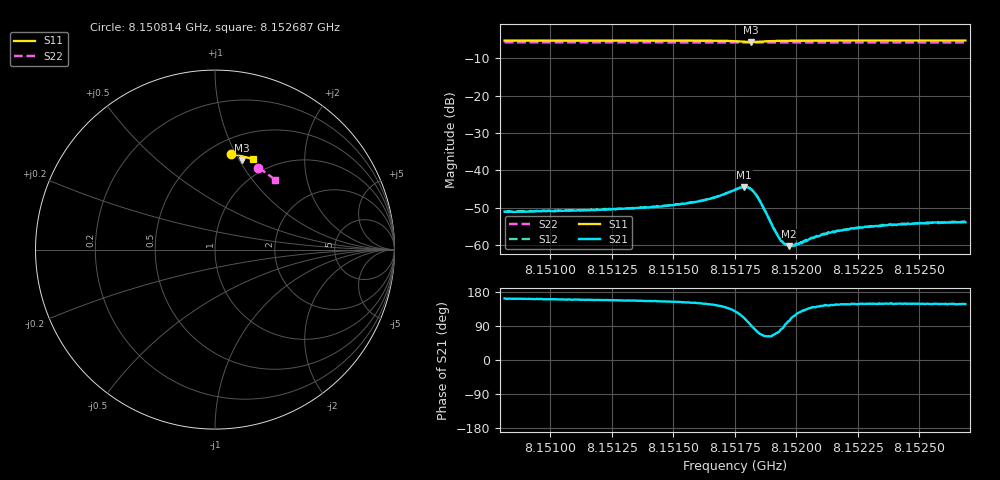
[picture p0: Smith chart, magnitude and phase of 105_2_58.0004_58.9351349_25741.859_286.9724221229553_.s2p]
#  HZ  S  RI  R  50.00
! Rohde & Schwarz Vector Network Analyzer
! Rohde-Schwarz,ZNB20-2Port,1311601062101988,3.16
! Created: UTC 3/21/2024, 12:54:58 AM
! freq[Hz]  re:S11  im:S11  re:S21  im:S21  re:S12  im:S12  re:S22  im:S22
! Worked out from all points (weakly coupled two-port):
!   401 points, 8.150814 GHz to 8.152687 GHz, reference 50 ohm
!   highest |S21| = -44.47 dB at 8.151788 GHz (marker M1); lowest = -60.2 dB at 8.151971 GHz (marker M2)
!   lowest |S11| = -5.7 dB at 8.151816 GHz (marker M3), VSWR 3.16, Z = 37.7 + j51.4 ohm
!   |S11| at or under -10 dB: nowhere
!   |S22| runs from -5.8 to -5.8 dB; largest |S21 - S12| = 0.00012
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8.1508138e9  0.0901 0.5349  -0.00267 0.000839  -0.00268 0.000901  0.2389 0.4558
8.1511276e9  0.1124 0.5311  -0.00273 0.00104  -0.00273 0.00107  0.2565 0.4457
8.1514414e9  0.1355 0.5258  -0.00297 0.0014  -0.00299 0.00146  0.2738 0.4348
8.1515303e9  0.1424 0.5236  -0.00316 0.0016  -0.00314 0.00166  0.2786 0.4315
8.151624e9  0.1506 0.5202  -0.00338 0.00205  -0.00342 0.00211  0.2835 0.4281
8.1516849e9  0.1563 0.5164  -0.0036 0.00269  -0.00359 0.00278  0.2867 0.4258
8.1517504e9  0.1615 0.5077  -0.00342 0.00427  -0.00343 0.00435  0.2901 0.4231
8.1517879e9  0.1588 0.4995  -0.00211 0.00559  -0.00203 0.00567  0.2917 0.4215
8.151802e9  0.1554 0.4975  -0.00112 0.00578  -0.00109 0.00586  0.2924 0.4209
8.151816e9  0.1512 0.4971  -8.38e-05 0.00555  -1.74e-05 0.0056  0.2928 0.4203
8.1518301e9  0.1474 0.499  0.000754 0.00495  0.000841 0.00495  0.2935 0.4201
8.1518488e9  0.1447 0.5036  0.00137 0.00379  0.00139 0.00379  0.2942 0.4195
8.151905e9  0.1493 0.5139  0.000693 0.00158  0.000766 0.00156  0.2973 0.4178
8.1519284e9  0.1524 0.5155  0.000351 0.00122  0.000365 0.00122  0.2987 0.4171
8.1519518e9  0.1554 0.5163  -1.66e-05 0.00103  1.28e-05 0.00104  0.3001 0.4162
8.1519706e9  0.1576 0.5168  -0.00022 0.00095  -0.000232 0.00096  0.3011 0.4156
8.1519986e9  0.1607 0.5168  -0.000505 0.000869  -0.000514 0.000914  0.3024 0.4144
8.1520642e9  0.1671 0.5161  -0.00094 0.000804  -0.000925 0.000839  0.3059 0.4117
8.152111e9  0.1711 0.5154  -0.00111 0.000824  -0.00113 0.000867  0.3084 0.41
8.1521719e9  0.1759 0.5142  -0.00127 0.00087  -0.00129 0.000892  0.3115 0.4076
8.152378e9  0.191 0.5098  -0.0016 0.000964  -0.00162 0.000978  0.3217 0.399
8.152687e9  0.212 0.502  -0.0017 0.00108  -0.00173 0.00116  0.3366 0.3859
